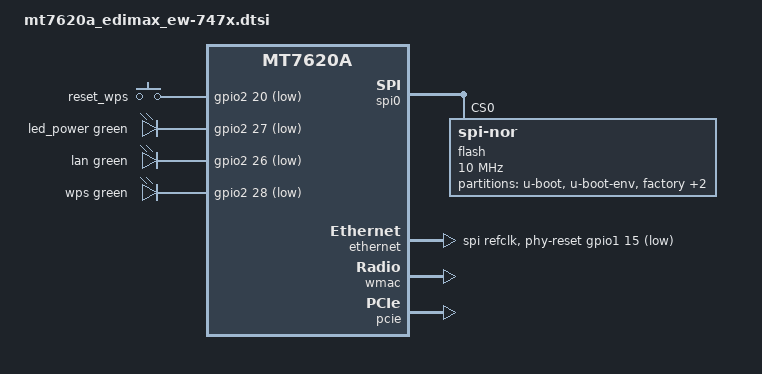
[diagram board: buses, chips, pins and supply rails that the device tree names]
// SPDX-License-Identifier: GPL-2.0-or-later OR MIT

#include "mt7620a.dtsi"

#include <dt-bindings/gpio/gpio.h>
#include <dt-bindings/input/input.h>
#include <dt-bindings/leds/common.h>
#include <dt-bindings/mtd/partitions/uimage.h>

/ {
	compatible = "ralink,mt7620a-soc";

	aliases {
		led-boot = &led_power;
		led-failsafe = &led_power;
		led-running = &led_power;
		led-upgrade = &led_power;
	};

	keys {
		compatible = "gpio-keys";

		reset_wps {
			label = "reset_wps";
			gpios = <&gpio2 20 GPIO_ACTIVE_LOW>;
			linux,code = <KEY_RESTART>;
		};
	};

	leds {
		compatible = "gpio-leds";

		led_power: power {
			function = LED_FUNCTION_POWER;
			color = <LED_COLOR_ID_GREEN>;
			gpios = <&gpio2 27 GPIO_ACTIVE_LOW>;
		};

		lan {
			function = LED_FUNCTION_LAN;
			color = <LED_COLOR_ID_GREEN>;
			gpios = <&gpio2 26 GPIO_ACTIVE_LOW>;
		};

		wps {
			function = LED_FUNCTION_WPS;
			color = <LED_COLOR_ID_GREEN>;
			gpios = <&gpio2 28 GPIO_ACTIVE_LOW>;
		};
	};
};

&gpio1 {
	status = "okay";
};

&gpio2 {
	status = "okay";
};

&spi0 {
	status = "okay";

	flash@0 {
		compatible = "jedec,spi-nor";
		reg = <0>;
		spi-max-frequency = <10000000>;

		partitions {
			compatible = "fixed-partitions";
			#address-cells = <1>;
			#size-cells = <1>;

			partition@0 {
				label = "u-boot";
				reg = <0x0 0x30000>;
				read-only;
			};

			partition@30000 {
				label = "u-boot-env";
				reg = <0x30000 0x10000>;
				read-only;
			};

			partition@40000 {
				label = "factory";
				reg = <0x40000 0x10000>;
				read-only;

				nvmem-layout {
					compatible = "fixed-layout";
					#address-cells = <1>;
					#size-cells = <1>;

					eeprom_factory_0: eeprom@0 {
						reg = <0x0 0x200>;
					};

					eeprom_factory_8000: eeprom@8000 {
						reg = <0x8000 0x200>;
					};

					macaddr_factory_4: macaddr@4 {
						compatible = "mac-base";
						reg = <0x4 0x6>;
						#nvmem-cell-cells = <1>;
					};
				};
			};

			partition@50000 {
				label = "cimage";
				reg = <0x50000 0x20000>;
				read-only;
			};

			partition@70000 {
				compatible = "openwrt,uimage", "denx,uimage";
				openwrt,offset = <FW_EDIMAX_OFFSET>;
				openwrt,partition-magic = <FW_MAGIC_EDIMAX>;
				label = "firmware";
				reg = <0x00070000 0x00790000>;
			};
		};
	};
};

&state_default {
	gpio {
		groups = "i2c", "uartf", "nd_sd", "rgmii2";
		function = "gpio";
	};
};

&pinctrl {
	phy_reset_pins: phy-reset {
		gpio {
			groups = "spi refclk";
			function = "gpio";
		};
	};
};

&ethernet {
	pinctrl-names = "default";
	pinctrl-0 = <&rgmii1_pins &mdio_pins &phy_reset_pins>;

	nvmem-cells = <&macaddr_factory_4 0>;
	nvmem-cell-names = "mac-address";

	phy-reset-gpios = <&gpio1 15 GPIO_ACTIVE_LOW>;
	phy-reset-duration = <30>;

	port@5 {
		status = "okay";
		mediatek,fixed-link = <1000 1 1 1>;
		phy-mode = "rgmii";
	};

	mdio-bus {
		status = "okay";

		phy0: ethernet-phy@0 {
			status = "disabled";
			reg = <0>;
			phy-mode = "rgmii";
		};

		phy1: ethernet-phy@1 {
			status = "disabled";
			reg = <1>;
			phy-mode = "rgmii";
		};

		phy2: ethernet-phy@2 {
			status = "disabled";
			reg = <2>;
			phy-mode = "rgmii";
		};

		phy3: ethernet-phy@3 {
			status = "disabled";
			reg = <3>;
			phy-mode = "rgmii";
		};

		phy4: ethernet-phy@4 {
			status = "disabled";
			reg = <4>;
			phy-mode = "rgmii";
		};
	};
};

&gsw {
	mediatek,ephy-base = /bits/ 8 <8>;
};

&wmac {
	nvmem-cells = <&eeprom_factory_0>, <&macaddr_factory_4 0>;
	nvmem-cell-names = "eeprom", "mac-address";
};

&pcie {
	status = "okay";
};

&pcie0 {
	wifi@0,0 {
		reg = <0x0000 0 0 0 0>;
		ieee80211-freq-limit = <5000000 6000000>;
		nvmem-cells = <&eeprom_factory_8000>, <&macaddr_factory_4 2>;
		nvmem-cell-names = "eeprom", "mac-address";
	};
};
